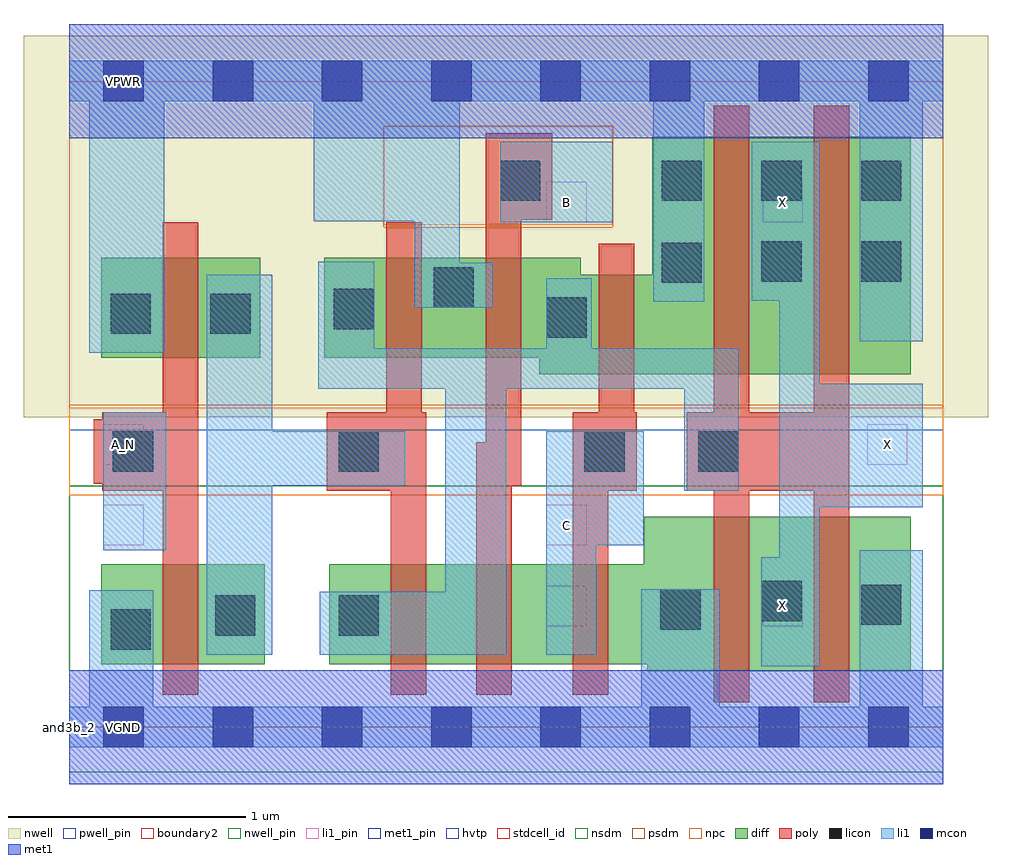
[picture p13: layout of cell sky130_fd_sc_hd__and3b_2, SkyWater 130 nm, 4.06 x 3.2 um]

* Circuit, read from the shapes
.subckt sky130_fd_sc_hd__and3b_2 A_N B C VGND VNB VPB VPWR X
XM1 n1 A_N VGND VNB sky130_fd_pr__nfet_01v8 w=0.42 l=0.15
XM2 n2 n1 n3 VNB sky130_fd_pr__nfet_01v8 w=0.42 l=0.15
XM3 n4 B n2 VNB sky130_fd_pr__nfet_01v8 w=0.42 l=0.15
XM4 VGND C n4 VNB sky130_fd_pr__nfet_01v8 w=0.42 l=0.15
XM5 X n3 VGND VNB sky130_fd_pr__nfet_01v8 w=0.65 l=0.15 m=2
XM6 n1 A_N VPWR VPB sky130_fd_pr__pfet_01v8_hvt w=0.42 l=0.15
XM7 VPWR n1 n3 VPB sky130_fd_pr__pfet_01v8_hvt w=0.42 l=0.15
XM8 n3 B VPWR VPB sky130_fd_pr__pfet_01v8_hvt w=0.42 l=0.15
XM9 VPWR C n3 VPB sky130_fd_pr__pfet_01v8_hvt w=0.42 l=0.15
XM10 X n3 VPWR VPB sky130_fd_pr__pfet_01v8_hvt w=1 l=0.15 m=2
.ends

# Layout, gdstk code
import gdstk
lib = gdstk.Library(unit=1e-6, precision=1e-09)
def R(c, l, rs):  # rectangles x0, y0, x1, y1
    for r in rs: c.add(gdstk.rectangle(r[:2], r[2:], *l))
def A(c, l, x, y, w, h, nx, ny, dx, dy):  # array of equal rectangles
    R(c, l, [(x+i*dx, y+j*dy, x+i*dx+w, y+j*dy+h) for i in range(nx) for j in range(ny)])
def P(c, l, *ps):  # polygons
    for p in ps: c.add(gdstk.Polygon(p, *l))
nwell_pin = (64, 16)
nwell = (64, 20)
diff = (65, 20)
poly = (66, 20)
licon = (66, 44)
li1_pin = (67, 16)
li1 = (67, 20)
mcon = (67, 44)
met1_pin = (68, 16)
met1 = (68, 20)
hvtp = (78, 44)
stdcell_id = (81, 4)
nsdm = (93, 44)
psdm = (94, 20)
npc = (95, 20)
pwell_pin = (122, 16)
boundary2 = (236, 0)

sky130_fd_sc_hd__and3b_2 = lib.new_cell('sky130_fd_sc_hd__and3b_2')
R(sky130_fd_sc_hd__and3b_2, nwell_pin, [(0.145,2.635,0.315,2.805)])
R(sky130_fd_sc_hd__and3b_2, nwell, [(-0.19,1.305,3.87,2.91)])
R(sky130_fd_sc_hd__and3b_2, diff, [(0.135,0.265,0.825,0.685), (0.135,1.555,0.805,1.975)])
P(sky130_fd_sc_hd__and3b_2, diff, [(3.545,2.485),(2.455,2.485),(2.455,1.905),(2.155,1.905),(2.155,1.975),(1.075,1.975),(1.075,1.555),(1.98,1.555),(1.98,1.485),(3.545,1.485)],
  [(3.545,0.885),(2.42,0.885),(2.42,0.685),(1.095,0.685),(1.095,0.265),(2.435,0.265),(2.435,0.235),(3.545,0.235)])
P(sky130_fd_sc_hd__and3b_2, poly, [(1.505,1.325),(1.485,1.325),(1.485,2.125),(1.335,2.125),(1.335,1.325),(1.085,1.325),(1.085,0.995),(1.355,0.995),(1.355,0.135),(1.505,0.135)],
  [(2.035,2.5),(1.755,2.5),(1.755,1.2),(1.715,1.2),(1.715,0.135),(1.865,0.135),(1.865,1.015),(1.905,1.015),(1.905,2.135),(2.035,2.135)],
  [(2.39,1.325),(2.38,1.325),(2.38,2.035),(2.23,2.035),(2.23,1.325),(2.12,1.325),(2.12,0.135),(2.27,0.135),(2.27,0.995),(2.39,0.995)],
  [(0.545,2.125),(0.395,2.125),(0.395,1.325),(0.14,1.325),(0.14,1.295),(0.105,1.295),(0.105,1.025),(0.14,1.025),(0.14,0.995),(0.395,0.995),(0.395,0.135),(0.545,0.135)],
  [(3.285,2.615),(3.135,2.615),(3.135,1.325),(2.865,1.325),(2.865,2.615),(2.715,2.615),(2.715,1.325),(2.6,1.325),(2.6,0.995),(2.715,0.995),(2.715,0.105),(2.865,0.105),(2.865,0.995),(3.135,0.995),(3.135,0.105),(3.285,0.105)])
A(sky130_fd_sc_hd__and3b_2, licon, 2.495, 2.215, 0.17, 0.17, 3, 1, 0.42, 0)
R(sky130_fd_sc_hd__and3b_2, licon, [(0.175,0.325,0.345,0.495), (0.615,0.385,0.785,0.555), (1.135,0.385,1.305,0.555), (2.49,0.41,2.66,0.58), (3.335,0.43,3.505,0.6), (2.915,0.445,3.085,0.615), (0.185,1.075,0.355,1.245), (1.135,1.075,1.305,1.245), (2.17,1.075,2.34,1.245), (2.65,1.075,2.82,1.245), (2.01,1.64,2.18,1.81), (0.175,1.655,0.345,1.825), (0.595,1.655,0.765,1.825), (1.115,1.675,1.285,1.845), (1.535,1.765,1.705,1.935), (2.495,1.87,2.665,2.04), (2.915,1.875,3.085,2.045), (3.335,1.875,3.505,2.045), (1.815,2.215,1.985,2.385)])
R(sky130_fd_sc_hd__and3b_2, li1_pin, [(2.01,0.425,2.18,0.595), (2.92,0.425,3.09,0.595), (0.145,0.765,0.315,0.935), (2.01,0.765,2.18,0.935), (0.145,1.105,0.315,1.275), (3.36,1.105,3.53,1.275), (2.01,2.125,2.18,2.295), (2.92,2.125,3.09,2.295)])
R(sky130_fd_sc_hd__and3b_2, li1, [(0.145,0.745,0.41,1.325), (1.815,2.125,2.29,2.465)])
P(sky130_fd_sc_hd__and3b_2, li1, [(3.68,2.805),(0,2.805),(0,2.635),(0.085,2.635),(0.085,1.575),(0.4,1.575),(0.4,2.635),(1.03,2.635),(1.03,2.13),(1.455,2.13),(1.455,1.765),(1.785,1.765),(1.785,1.955),(1.645,1.955),(1.645,2.635),(2.46,2.635),(2.46,1.79),(2.675,1.79),(2.675,2.635),(3.33,2.635),(3.33,1.625),(3.595,1.625),(3.595,2.635),(3.68,2.635)],
  [(3.595,1.445),(3.16,1.445),(3.16,2.465),(2.875,2.465),(2.875,1.795),(2.99,1.795),(2.99,0.715),(2.915,0.715),(2.915,0.255),(3.16,0.255),(3.16,0.925),(3.595,0.925)],
  [(2.42,1.245),(2.01,1.245),(2.01,0.305),(2.22,0.305),(2.22,0.765),(2.42,0.765)],
  [(2.82,1.595),(2.2,1.595),(2.2,1.89),(2.01,1.89),(2.01,1.595),(1.285,1.595),(1.285,1.96),(1.05,1.96),(1.05,1.425),(1.585,1.425),(1.585,0.57),(1.055,0.57),(1.055,0.305),(1.84,0.305),(1.84,1.425),(2.59,1.425),(2.59,0.995),(2.82,0.995)],
  [(1.415,1.245),(0.855,1.245),(0.855,1.905),(0.58,1.905),(0.58,0.305),(0.855,0.305),(0.855,1.015),(1.415,1.015)],
  [(3.68,0.085),(3.595,0.085),(3.595,0.745),(3.33,0.745),(3.33,0.085),(2.74,0.085),(2.74,0.58),(2.41,0.58),(2.41,0.085),(0.355,0.085),(0.355,0.575),(0.085,0.575),(0.085,0.085),(0,0.085),(0,-0.085),(3.68,-0.085)])
A(sky130_fd_sc_hd__and3b_2, mcon, 0.145, -0.085, 0.17, 0.17, 8, 2, 0.46, 2.72)
R(sky130_fd_sc_hd__and3b_2, met1_pin, [(0.145,-0.085,0.315,0.085), (0.145,2.635,0.315,2.805)])
R(sky130_fd_sc_hd__and3b_2, met1, [(0,-0.24,3.68,0.24), (0,2.48,3.68,2.96)])
R(sky130_fd_sc_hd__and3b_2, hvtp, [(0,1.25,3.68,2.72)])
R(sky130_fd_sc_hd__and3b_2, stdcell_id, [(0,0,3.68,2.72)])
R(sky130_fd_sc_hd__and3b_2, nsdm, [(0,-0.19,3.68,1.015)])
P(sky130_fd_sc_hd__and3b_2, psdm, [(3.68,2.91),(2.29,2.91),(2.29,2.105),(1.325,2.105),(1.325,2.53),(2.29,2.53),(2.29,2.91),(0,2.91),(0,1.355),(3.68,1.355)])
R(sky130_fd_sc_hd__and3b_2, npc, [(0,0.975,3.68,1.345), (1.325,2.115,2.29,2.53)])
R(sky130_fd_sc_hd__and3b_2, pwell_pin, [(0.145,-0.085,0.315,0.085)])
R(sky130_fd_sc_hd__and3b_2, boundary2, [(0,0,3.68,2.72)])
sky130_fd_sc_hd__and3b_2.add(gdstk.Label('VGND', (0.23,0), layer=68, texttype=5))
sky130_fd_sc_hd__and3b_2.add(gdstk.Label('VPWR', (0.23,2.72), layer=68, texttype=5))
sky130_fd_sc_hd__and3b_2.add(gdstk.Label('B', (2.095,2.21), layer=67, texttype=5))
sky130_fd_sc_hd__and3b_2.add(gdstk.Label('X', (3.005,0.51), layer=67, texttype=5))
sky130_fd_sc_hd__and3b_2.add(gdstk.Label('X', (3.005,2.21), layer=67, texttype=5))
sky130_fd_sc_hd__and3b_2.add(gdstk.Label('A_N', (0.23,1.19), layer=67, texttype=5))
sky130_fd_sc_hd__and3b_2.add(gdstk.Label('C', (2.095,0.85), layer=67, texttype=5))
sky130_fd_sc_hd__and3b_2.add(gdstk.Label('X', (3.445,1.19), layer=67, texttype=5))
sky130_fd_sc_hd__and3b_2.add(gdstk.Label('VNB', (0.23,0), layer=64, texttype=59))
sky130_fd_sc_hd__and3b_2.add(gdstk.Label('VPB', (0.23,2.72), layer=64, texttype=5))
sky130_fd_sc_hd__and3b_2.add(gdstk.Label('and3b_2', (0,0), layer=83, texttype=44))

lib.write_gds('sky130_fd_sc_hd__and3b_2.gds')
